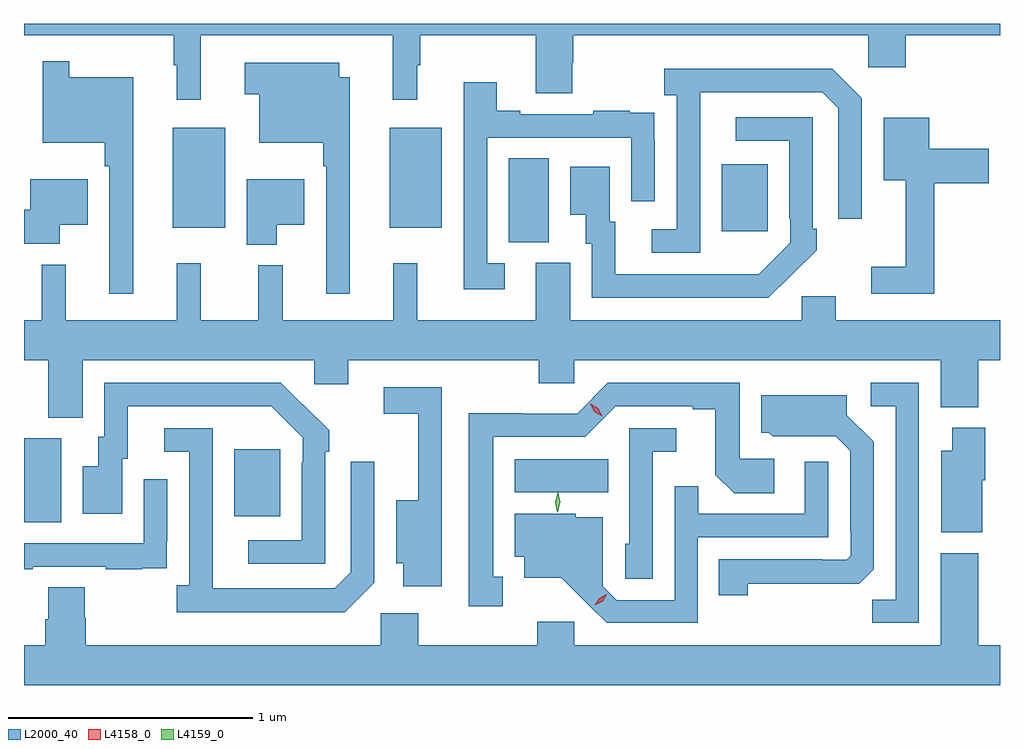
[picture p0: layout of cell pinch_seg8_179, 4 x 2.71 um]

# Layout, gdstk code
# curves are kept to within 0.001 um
import gdstk
lib = gdstk.Library(unit=1e-6, precision=1e-09)
def R(c, l, rs):  # rectangles x0, y0, x1, y1
    for r in rs: c.add(gdstk.rectangle(r[:2], r[2:], *l))
def P(c, l, *ps):  # polygons
    for p in ps: c.add(gdstk.Polygon(p, *l))
L2000_40 = (2000, 40)
L4158_0 = (4158, 0)
L4159_0 = (4159, 0)

pinch_seg8_179 = lib.new_cell('pinch_seg8_179')
R(pinch_seg8_179, L2000_40, [(704.791,1162.456,704.944,1162.8), (705.653,1162.481,705.841,1162.756), (706.802,1162.58,707.186,1162.714), (706.778,1163.605,706.942,1163.948), (707.651,1163.649,707.839,1163.923), (705.401,1163.663,705.616,1164.073), (706.289,1163.663,706.504,1164.073)])
P(pinch_seg8_179, L2000_40, [(705.515,1164.452),(706.303,1164.452),(706.303,1164.189),(706.403,1164.189),(706.403,1164.329),(706.414,1164.329),(706.414,1164.452),(706.889,1164.452),(706.889,1164.214),(707.037,1164.214),(707.037,1164.339),(707.042,1164.339),(707.042,1164.452),(708.252,1164.452),(708.252,1164.321),(708.404,1164.321),(708.404,1164.452),(708.791,1164.452),(708.791,1164.5),(704.791,1164.5),(704.791,1164.452),(705.405,1164.452),(705.405,1164.329),(705.416,1164.329),(705.416,1164.189),(705.515,1164.189)],
  [(705.238,1164.28),(704.977,1164.28),(704.977,1164.346),(704.868,1164.346),(704.868,1164.011),(705.121,1164.011),(705.121,1163.915),(705.141,1163.915),(705.141,1163.394),(705.238,1163.394)],
  [(706.126,1164.28),(706.084,1164.28),(706.084,1164.34),(705.696,1164.34),(705.696,1164.211),(705.755,1164.211),(705.755,1164.011),(706.017,1164.011),(706.017,1163.915),(706.029,1163.915),(706.029,1163.394),(706.126,1163.394)],
  [(707.562,1164.019),(707.563,1164.219),(708.063,1164.219),(708.129,1164.153),(708.129,1163.7),(708.225,1163.7),(708.225,1164.195),(708.104,1164.316),(707.415,1164.316),(707.415,1164.206),(707.466,1164.206),(707.466,1163.658),(707.364,1163.658),(707.364,1163.562),(707.562,1163.562)],
  [(706.762,1163.517),(706.689,1163.517),(706.689,1164.033),(707.28,1164.033),(707.28,1163.772),(707.376,1163.772),(707.376,1164.026),(707.375,1164.026),(707.375,1164.135),(707.273,1164.135),(707.273,1164.142),(707.125,1164.142),(707.125,1164.129),(706.825,1164.129),(706.825,1164.142),(706.729,1164.142),(706.729,1164.259),(706.593,1164.259),(706.593,1163.412),(706.762,1163.412)],
  [(707.933,1163.467),(707.934,1163.466),(708.039,1163.571),(708.039,1163.659),(708.024,1163.659),(708.024,1164.117),(707.709,1164.117),(707.709,1164.021),(707.928,1164.021),(707.928,1163.701),(707.931,1163.701),(707.931,1163.601),(707.803,1163.473),(707.215,1163.472),(707.215,1163.688),(707.191,1163.688),(707.191,1163.914),(707.03,1163.914),(707.03,1163.717),(707.093,1163.717),(707.093,1163.598),(707.118,1163.598),(707.118,1163.376),(707.842,1163.376)],
  [(708.521,1163.846),(708.745,1163.846),(708.745,1163.988),(708.502,1163.988),(708.502,1164.115),(708.314,1164.115),(708.314,1163.858),(708.404,1163.858),(708.404,1163.503),(708.264,1163.503),(708.264,1163.394),(708.521,1163.394)],
  [(705.826,1163.675),(705.94,1163.675),(705.94,1163.863),(705.704,1163.863),(705.704,1163.594),(705.826,1163.594)],
  [(704.938,1163.675),(705.052,1163.675),(705.052,1163.863),(704.816,1163.863),(704.816,1163.737),(704.791,1163.737),(704.791,1163.597),(704.938,1163.597)],
  [(706.9,1163.027),(707.046,1163.027),(707.046,1163.12),(708.548,1163.12),(708.548,1162.928),(708.701,1162.928),(708.701,1163.12),(708.791,1163.12),(708.791,1163.284),(708.118,1163.284),(708.118,1163.382),(707.979,1163.382),(707.979,1163.284),(707.029,1163.284),(707.029,1163.52),(706.889,1163.52),(706.889,1163.284),(706.403,1163.284),(706.403,1163.518),(706.304,1163.518),(706.304,1163.284),(705.851,1163.284),(705.851,1163.509),(705.751,1163.509),(705.751,1163.284),(705.516,1163.284),(705.516,1163.518),(705.416,1163.518),(705.416,1163.284),(704.963,1163.284),(704.963,1163.512),(704.863,1163.512),(704.863,1163.284),(704.791,1163.284),(704.791,1163.12),(704.891,1163.12),(704.891,1162.885),(705.031,1162.885),(705.031,1163.12),(705.981,1163.12),(705.981,1163.022),(706.12,1163.022),(706.12,1163.12),(706.9,1163.12)],
  [(708.459,1163.028),(708.261,1163.028),(708.261,1162.932),(708.363,1162.932),(708.363,1162.139),(708.268,1162.139),(708.268,1162.044),(708.459,1162.044)],
  [(706.026,1162.745),(706.041,1162.745),(706.041,1162.833),(705.844,1163.028),(705.12,1163.028),(705.12,1162.806),(705.095,1162.806),(705.095,1162.687),(705.032,1162.687),(705.032,1162.491),(705.193,1162.491),(705.193,1162.716),(705.217,1162.716),(705.217,1162.932),(705.805,1162.932),(705.933,1162.803),(705.933,1162.703),(705.93,1162.703),(705.93,1162.383),(705.711,1162.383),(705.711,1162.287),(706.026,1162.287)],
  [(706.753,1162.233),(706.714,1162.233),(706.714,1162.806),(707.091,1162.806),(707.217,1162.932),(707.531,1162.932),(707.531,1162.92),(707.625,1162.92),(707.625,1162.652),(707.701,1162.576),(707.866,1162.576),(707.866,1162.716),(707.724,1162.716),(707.724,1163.028),(707.184,1163.028),(707.058,1162.902),(706.836,1162.902),(706.836,1162.904),(706.613,1162.904),(706.613,1162.113),(706.753,1162.113)],
  [(706.504,1162.442),(706.503,1162.442),(706.503,1163.01),(706.266,1163.01),(706.266,1162.902),(706.406,1162.902),(706.406,1162.546),(706.316,1162.546),(706.316,1162.289),(706.346,1162.289),(706.346,1162.194),(706.504,1162.194)],
  [(707.757,1162.204),(708.214,1162.205),(708.273,1162.264),(708.273,1162.786),(708.163,1162.896),(708.163,1162.978),(707.813,1162.978),(707.813,1162.824),(707.844,1162.824),(707.86,1162.808),(708.117,1162.809),(708.177,1162.749),(708.177,1162.42),(708.18,1162.42),(708.18,1162.32),(708.162,1162.302),(708.062,1162.302),(708.062,1162.305),(707.638,1162.305),(707.638,1162.158),(707.757,1162.158)],
  [(708.718,1162.629),(708.731,1162.629),(708.731,1162.843),(708.596,1162.843),(708.596,1162.75),(708.551,1162.75),(708.551,1162.415),(708.718,1162.415)],
  [(707.367,1162.745),(707.464,1162.745),(707.464,1162.842),(707.271,1162.842),(707.271,1162.368),(707.256,1162.368),(707.256,1162.225),(707.367,1162.225)],
  [(706.227,1162.209),(706.227,1162.705),(706.131,1162.705),(706.131,1162.251),(706.065,1162.185),(705.565,1162.185),(705.564,1162.842),(705.366,1162.842),(705.366,1162.746),(705.468,1162.746),(705.468,1162.198),(705.417,1162.198),(705.417,1162.088),(706.106,1162.088)],
  [(707.553,1162.395),(708.087,1162.395),(708.087,1162.705),(707.991,1162.705),(707.991,1162.491),(707.555,1162.491),(707.555,1162.604),(707.457,1162.604),(707.457,1162.137),(707.22,1162.137),(707.163,1162.194),(707.163,1162.477),(707.052,1162.477),(707.052,1162.492),(706.802,1162.492),(706.802,1162.316),(706.841,1162.316),(706.841,1162.229),(706.993,1162.229),(707.18,1162.044),(707.553,1162.044)],
  [(704.827,1162.275),(705.127,1162.275),(705.127,1162.263),(705.275,1162.263),(705.275,1162.269),(705.377,1162.269),(705.377,1162.378),(705.378,1162.378),(705.378,1162.633),(705.282,1162.633),(705.282,1162.371),(704.791,1162.371),(704.791,1162.263),(704.827,1162.263)],
  [(708.791,1161.952),(708.701,1161.952),(708.701,1162.33),(708.548,1162.33),(708.548,1161.952),(707.046,1161.952),(707.046,1162.048),(706.895,1162.048),(706.895,1161.952),(706.406,1161.952),(706.406,1162.084),(706.254,1162.084),(706.254,1161.952),(705.044,1161.952),(705.044,1162.065),(705.039,1162.065),(705.039,1162.19),(704.891,1162.19),(704.891,1162.058),(704.879,1162.058),(704.879,1161.952),(704.791,1161.952),(704.791,1161.788),(708.791,1161.788)])
P(pinch_seg8_179, L4158_0, [(707.131,1162.116),(707.131,1162.117),(707.148,1162.146),(707.178,1162.162),(707.179,1162.162),(707.179,1162.162),(707.162,1162.132),(707.131,1162.116)],
  [(707.161,1162.89),(707.129,1162.909),(707.112,1162.942),(707.112,1162.942),(707.113,1162.942),(707.144,1162.923),(707.161,1162.89),(707.161,1162.89)])
P(pinch_seg8_179, L4159_0, [(706.977,1162.498),(706.968,1162.538),(706.979,1162.577),(706.979,1162.578),(706.98,1162.577),(706.988,1162.538),(706.978,1162.498),(706.978,1162.498)])

lib.write_gds('pinch_seg8_179.gds')
